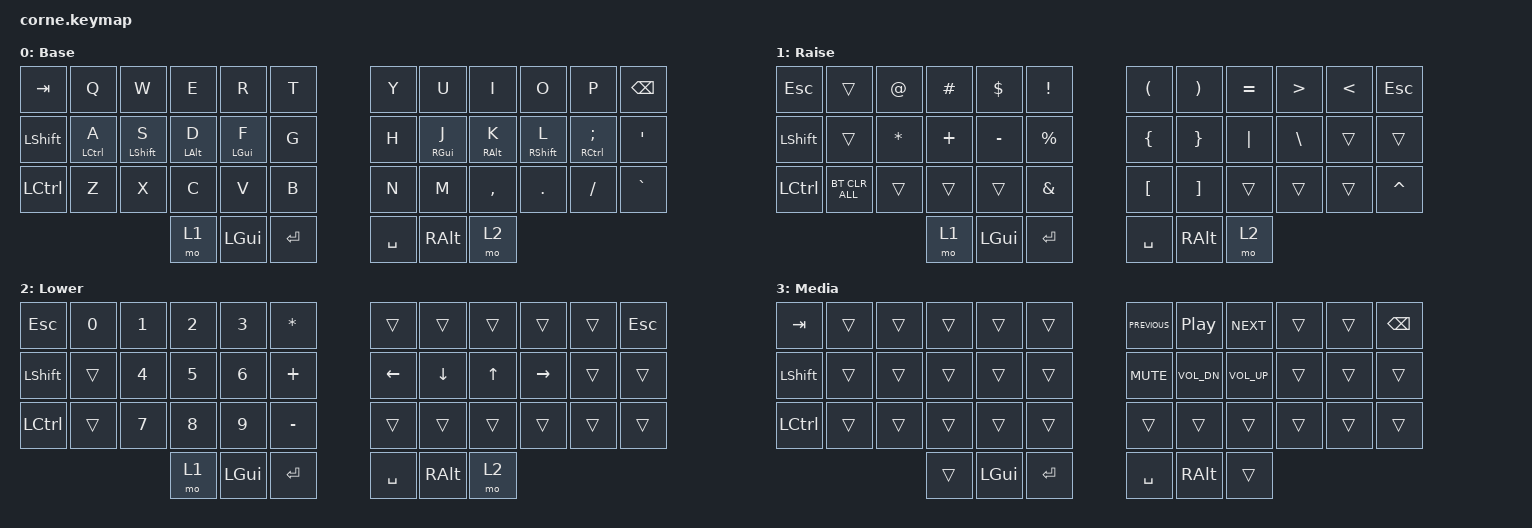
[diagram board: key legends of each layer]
/*
 * Copyright (c) 2020 The ZMK Contributors
 *
 * SPDX-License-Identifier: MIT
 */

#include <behaviors.dtsi>
#include <dt-bindings/zmk/bt.h>
#include <dt-bindings/zmk/keys.h>

&mt {
    tapping-term-ms = <250>;
    flavor = "tap-preferred";
};

/ {
    macros {
        ctrl_tab_macro: ctrl_tab_macro {
            compatible = "zmk,behavior-macro";
            #binding-cells = <0>;
            bindings =
                <&macro_press>,
                <&kp LCTRL>,
                <&macro_tap>,
                <&kp TAB>,
                <&macro_release>,
                <&kp LCTRL>;
        };
    };

    combos {
        compatible = "zmk,combos";

        combo_ctrl_tab {
            timeout-ms = <50>;
            key-positions = <0 29>; // TAB + RET
            bindings = <&ctrl_tab_macro>;
        };

        media {
            bindings = <&mo 3>;
            key-positions = <36 41>;
        };
    };

    keymap {
        compatible = "zmk,keymap";

        default_layer {
            // -----------------------------------------------------------------------------------------
            // |  TAB |  Q  |  W  |  E  |  R  |  T  |   |  Y  |  U   |  I  |  O  |  P  | BKSP |
            // | CTRL |  A  |  S  |  D  |  F  |  G  |   |  H  |  J   |  K  |  L  |  ;  |  '   |
            // | SHFT |  Z  |  X  |  C  |  V  |  B  |   |  N  |  M   |  ,  |  .  |  /  | GRAVE|
            //                    | LWR | GUI | RET |   | SPC | ALT  | RSE |

            display-name = "Base";
            bindings = <
&kp TAB         &kp Q        &kp W             &kp E       &kp R       &kp T      &kp Y      &kp U     &kp I      &kp O    &kp P     &kp BSPC
&kp LEFT_SHIFT  &mt LCTRL A  &mt LEFT_SHIFT S  &mt LALT D  &mt LGUI F  &kp G      &kp H      &mt RGUI J  &mt RALT K  &mt RIGHT_SHIFT L  &mt RCTRL SEMI  &kp SQT
&kp LCTRL       &kp Z        &kp X             &kp C       &kp V       &kp B      &kp N      &kp M     &kp COMMA  &kp DOT  &kp FSLH  &kp GRAVE
                                               &mo 1       &kp LGUI    &kp RET    &kp SPACE  &kp RALT  &mo 2
            >;
        };

        raise_layer {
            // -----------------------------------------------------------------------------------------
            // |  ESC |     |  @  |  #  |  $  |  !    |   |  (  |  )  |  =  |  >  |  <  | ESC |
            // | SHFT |     |ASTRK|PLUS |MINUS|PERCENT|   |  {  |  }  |  |  |  \  |  %  |      |
            // | CTRL |     |     |     |     | AMBS  |   |  [  |  ]  |  {  |  }  | "|" |  ~   |
            //                    | GUI |     | RET   |   | SPC |  MEDIA   | ALT |

            display-name = "Raise";
            bindings = <
&kp ESC         &trans          &kp AT     &kp HASH  &kp DLLR   &kp EXCL       &kp LPAR          &kp RPAR           &kp EQUAL  &kp GREATER_THAN  &kp LESS_THAN  &kp ESC
&kp LEFT_SHIFT  &trans          &kp ASTRK  &kp PLUS  &kp MINUS  &kp PERCENT    &kp LBRC          &kp RBRC           &kp PIPE   &kp BACKSLASH     &trans         &trans
&kp LCTRL       &bt BT_CLR_ALL  &trans     &trans    &trans     &kp AMPS       &kp LEFT_BRACKET  &kp RIGHT_BRACKET  &trans     &trans            &trans         &kp CARET
                                           &mo 1     &kp LGUI   &kp RET        &kp SPACE         &kp RALT           &mo 2
            >;
        };

        lower_layer {
            // -----------------------------------------------------------------------------------------
            // |  ESC |  0  |  1  |  2  |  3  |  *  |   |     |     |     |     |     | ESC |
            // | SHFT |     |  4  |  5  |  6  |  +  |   | LFT | DWN |  UP | RGT |     |      |
            // | CTRL |     |  7  |  8  |  9  |  -  |   |     |     |     |     |     |      |
            //                    |     |GUI  | RET |   | SPC |  AL |     |

            display-name = "Lower";
            bindings = <
&kp ESC         &kp NUMBER_0  &kp NUMBER_1  &kp NUMBER_2  &kp NUMBER_3  &kp ASTRK    &trans     &trans    &trans  &trans     &trans  &kp ESC
&kp LEFT_SHIFT  &trans        &kp NUMBER_4  &kp NUMBER_5  &kp NUMBER_6  &kp PLUS     &kp LEFT   &kp DOWN  &kp UP  &kp RIGHT  &trans  &trans
&kp LCTRL       &trans        &kp NUMBER_7  &kp NUMBER_8  &kp NUMBER_9  &kp MINUS    &trans     &trans    &trans  &trans     &trans  &trans
                                            &mo 1         &kp LGUI      &kp RET      &kp SPACE  &kp RALT  &mo 2
            >;
        };

        media {
            display-name = "Media";
            bindings = <
&kp TAB         &trans  &trans  &trans  &trans    &trans     &kp C_PREVIOUS  &kp C_PLAY_PAUSE  &kp C_NEXT       &trans  &trans  &kp BSPC
&kp LEFT_SHIFT  &trans  &trans  &trans  &trans    &trans     &kp C_MUTE      &kp C_VOL_DN      &kp C_VOLUME_UP  &trans  &trans  &trans
&kp LCTRL       &trans  &trans  &trans  &trans    &trans     &trans          &trans            &trans           &trans  &trans  &trans
                                &trans  &kp LGUI  &kp RET    &kp SPACE       &kp RIGHT_ALT     &trans
            >;
        };
    };
};
